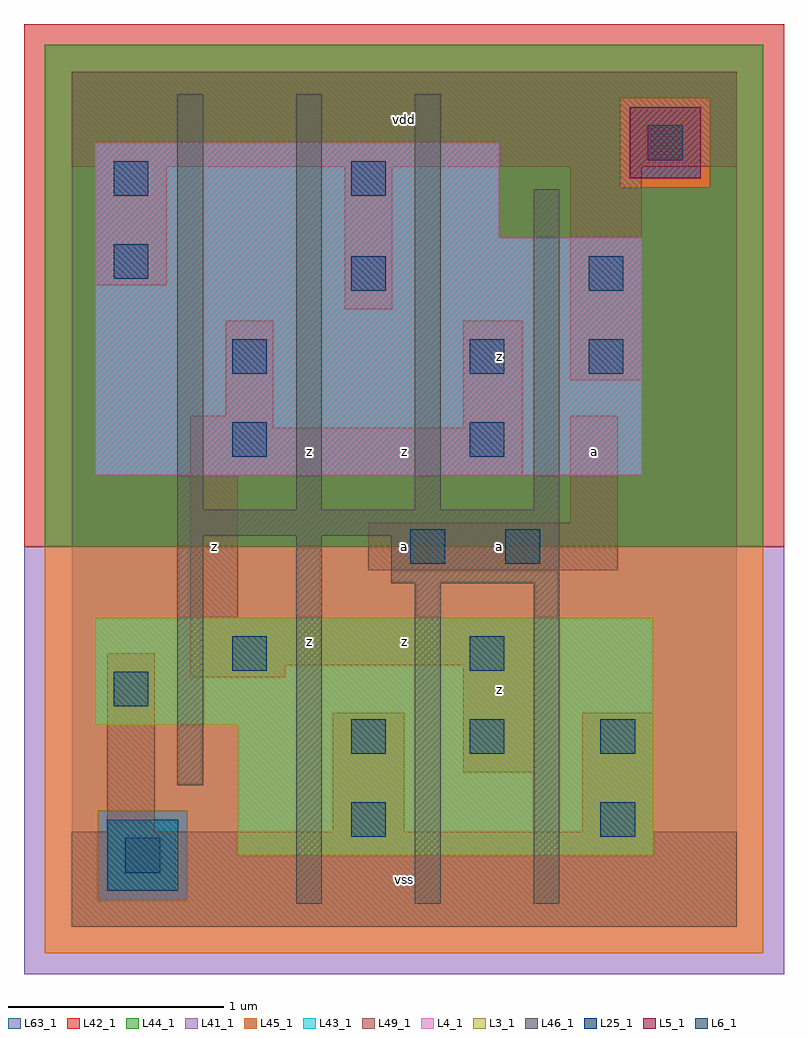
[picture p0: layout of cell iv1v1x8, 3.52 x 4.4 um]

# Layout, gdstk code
import gdstk
lib = gdstk.Library(unit=1e-6, precision=1e-09)
def R(c, l, rs):  # rectangles x0, y0, x1, y1
    for r in rs: c.add(gdstk.rectangle(r[:2], r[2:], *l))
def A(c, l, x, y, w, h, nx, ny, dx, dy):  # array of equal rectangles
    R(c, l, [(x+i*dx, y+j*dy, x+i*dx+w, y+j*dy+h) for i in range(nx) for j in range(ny)])
L3_1 = (3, 1)
L4_1 = (4, 1)
L5_1 = (5, 1)
L6_1 = (6, 1)
L25_1 = (25, 1)
L41_1 = (41, 1)
L42_1 = (42, 1)
L43_1 = (43, 1)
L44_1 = (44, 1)
L45_1 = (45, 1)
L46_1 = (46, 1)
L49_1 = (49, 1)
L63_1 = (63, 1)

iv1v1x8 = lib.new_cell('iv1v1x8')
R(iv1v1x8, L3_1, [(0.77,0.33,2.695,0.935), (0.11,0.935,2.695,1.43)])
R(iv1v1x8, L4_1, [(0.11,2.09,2.64,3.19), (0.11,3.19,1.98,3.63)])
R(iv1v1x8, L5_1, [(2.585,3.465,2.915,3.795)])
R(iv1v1x8, L6_1, [(0.165,0.165,0.495,0.495)])
R(iv1v1x8, L25_1, [(0.25,0.25,0.41,0.41), (1.295,0.415,1.455,0.575), (2.45,0.415,2.61,0.575), (1.295,0.8,1.455,0.96), (1.845,0.8,2.005,0.96), (2.45,0.8,2.61,0.96), (0.195,1.02,0.355,1.18), (0.745,1.185,0.905,1.345), (1.845,1.185,2.005,1.345), (1.57,1.68,1.73,1.84), (2.01,1.68,2.17,1.84), (0.745,2.175,0.905,2.335), (1.845,2.175,2.005,2.335), (0.745,2.56,0.905,2.72), (1.845,2.56,2.005,2.72), (2.395,2.56,2.555,2.72), (1.295,2.945,1.455,3.105), (2.395,2.945,2.555,3.105), (0.195,3,0.355,3.16), (0.195,3.385,0.355,3.545), (1.295,3.385,1.455,3.545), (2.67,3.55,2.83,3.71)])
R(iv1v1x8, L41_1, [(-0.22,-0.22,3.3,1.76)])
R(iv1v1x8, L42_1, [(-0.22,1.76,3.3,4.18)])
R(iv1v1x8, L43_1, [(0.165,0.165,0.495,0.495), (0.77,0.33,2.695,0.935), (0.11,0.935,2.695,1.43), (0.11,2.09,2.64,3.19), (0.11,3.19,1.98,3.63), (2.585,3.465,2.915,3.795)])
R(iv1v1x8, L44_1, [(0.125,0.125,0.535,0.535), (-0.125,1.76,3.205,3.425), (-0.125,3.425,2.545,3.835), (2.955,3.425,3.205,3.835), (-0.125,3.835,3.205,4.085)])
R(iv1v1x8, L45_1, [(-0.125,-0.125,3.205,0.125), (-0.125,0.125,0.125,0.535), (0.535,0.125,3.205,0.535), (-0.125,0.535,3.205,1.76), (2.545,3.425,2.955,3.835)])
A(iv1v1x8, L46_1, 0.49, 1.93, 0.12, 1.925, 3, 1, 0.55, 0)
R(iv1v1x8, L46_1, [(1.04,0.105,1.16,1.81), (1.59,0.105,1.71,1.59), (2.14,0.105,2.26,1.59), (0.49,0.655,0.61,1.81), (1.48,1.59,2.26,1.81), (0.49,1.81,2.26,1.93), (2.14,1.93,2.26,3.415)])
R(iv1v1x8, L49_1, [(0,0,3.08,0.44), (0.165,0.44,0.385,1.265), (1.21,0.44,1.54,0.99), (2.365,0.44,2.695,0.99), (1.815,0.715,2.145,1.21), (0.55,1.155,0.99,1.21), (0.55,1.21,2.145,1.43), (0.55,1.43,0.77,2.09), (1.375,1.65,2.53,1.87), (2.31,1.87,2.53,2.365), (0.55,2.09,2.09,2.31), (0.55,2.31,0.935,2.365), (1.815,2.31,2.09,2.805), (0.715,2.365,0.935,2.805), (2.31,2.53,2.64,3.52), (1.265,2.86,1.485,3.52), (0.11,2.97,0.44,3.52), (0,3.52,3.08,3.96)])
R(iv1v1x8, L63_1, [(0,0,3.08,3.96)])
iv1v1x8.add(gdstk.Label('z', (0.66,1.76), layer=49, texttype=1))
iv1v1x8.add(gdstk.Label('z', (1.1,1.32), layer=49, texttype=1))
iv1v1x8.add(gdstk.Label('z', (1.1,2.2), layer=49, texttype=1))
iv1v1x8.add(gdstk.Label('vss', (1.54,0.22), layer=49, texttype=1))
iv1v1x8.add(gdstk.Label('z', (1.98,1.1), layer=49, texttype=1))
iv1v1x8.add(gdstk.Label('z', (1.54,1.32), layer=49, texttype=1))
iv1v1x8.add(gdstk.Label('a', (1.54,1.76), layer=49, texttype=1))
iv1v1x8.add(gdstk.Label('a', (1.98,1.76), layer=49, texttype=1))
iv1v1x8.add(gdstk.Label('z', (1.54,2.2), layer=49, texttype=1))
iv1v1x8.add(gdstk.Label('z', (1.98,2.64), layer=49, texttype=1))
iv1v1x8.add(gdstk.Label('vdd', (1.54,3.74), layer=49, texttype=1))
iv1v1x8.add(gdstk.Label('a', (2.42,2.2), layer=49, texttype=1))

lib.write_gds('iv1v1x8.gds')
